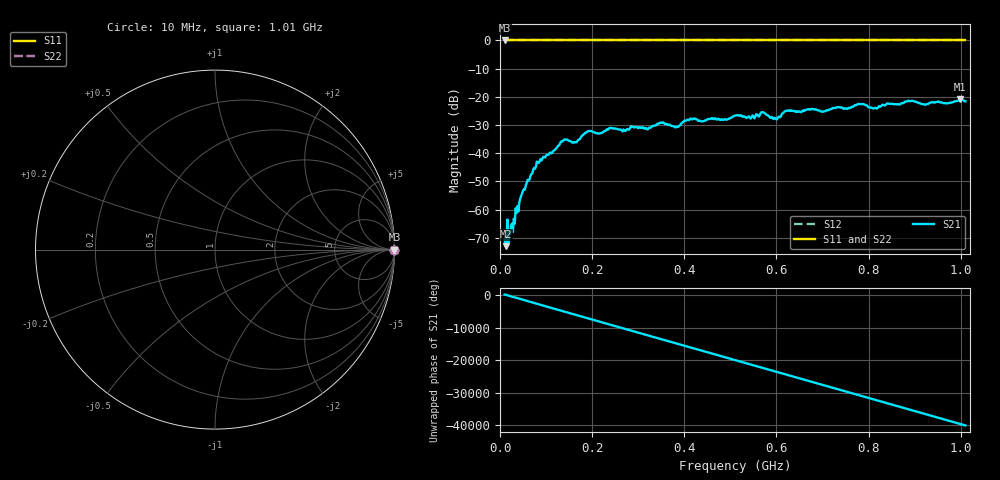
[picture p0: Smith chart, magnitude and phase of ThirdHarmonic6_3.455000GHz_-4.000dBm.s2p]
! 8/17/2025 11:10:14 AM
! C:\ANRITSUVNA\TEMP\TEMP.S2P
! CHANNEL.1
! TR.MEASUREMENT
! RAW.DATA
! RF.CORRECTION.OFF
! AVERAGING.OFF
! IF.BANDWIDTH: 5KHZ
! SWEEPTYPE:  FREQ.SWEEP(Linear)
! Reference Plane Port Info
! PORT:  PORT1  PORT2
! DISTANCE:  0  m  0  m
! TIME:  0  s  0  s
! PHASE.OFFSET:  0  deg.  0  deg.
! LOSS:  0  dB  0  dB
! REF.LOSS:  0  dB  0  dB
! REF.FREQ:  0  Hz  0  Hz
! Power Info
! POWER:  -20  dBm  -20  dBm
! EFF.POWER:  -20  dBm  -20  dBm
! SOURCE.ATTEN:  0  dB  0  dB
! TEST.ATTEN:  0  dB  0  dB
# GHZ S RI R 50.0
! FREQ.GHZ  S11RE  S11IM  S21RE  S21IM  S12RE  S12IM  S22RE  S22IM
!; PortSelection: Port_12
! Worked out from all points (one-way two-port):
!   501 points, 10 MHz to 1.01 GHz, reference 50 ohm
!   highest |S21| = -20.90 dB at 998 MHz (marker M1); lowest = -72.9 dB at 12 MHz (marker M2)
!   lowest |S11| = 0.0 dB at 10 MHz (marker M3)
!   |S11| at or under -10 dB: nowhere
!   |S22| runs from 0.0 to 0.0 dB; largest |S21 - S12| = 1.1
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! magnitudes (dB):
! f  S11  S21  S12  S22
! 10 MHz  0.0  -70.6  0.0  0.0
! 12 MHz  0.0  -72.9  0.0  0.0
! 28 MHz  0.0  -67.9  0.0  0.0
! 48 MHz  0.0  -54.1  0.0  0.0
! 84 MHz  0.0  -43.4  0.0  0.0
! 136 MHz  0.0  -35.8  0.0  0.0
! 164 MHz  0.0  -36.1  0.0  0.0
! 178 MHz  0.0  -33.7  0.0  0.0
! 194 MHz  0.0  -32.1  0.0  0.0
! 318 MHz  0.0  -31.3  0.0  0.0
! 344 MHz  0.0  -29.6  0.0  0.0
! 384 MHz  0.0  -30.5  0.0  0.0
! 416 MHz  0.0  -28.0  0.0  0.0
! 510 MHz  0.0  -26.7  0.0  0.0
! 570 MHz  0.0  -25.4  0.0  0.0
! 598 MHz  0.0  -27.6  0.0  0.0
! 622 MHz  0.0  -24.9  0.0  0.0
! 678 MHz  0.0  -24.3  0.0  0.0
! 814 MHz  0.0  -23.9  0.0  0.0
! 844 MHz  0.0  -22.4  0.0  0.0
! 998 MHz  0.0  -20.9  0.0  0.0
! 1.01 GHz  0.0  -21.6  0.0  0.0
